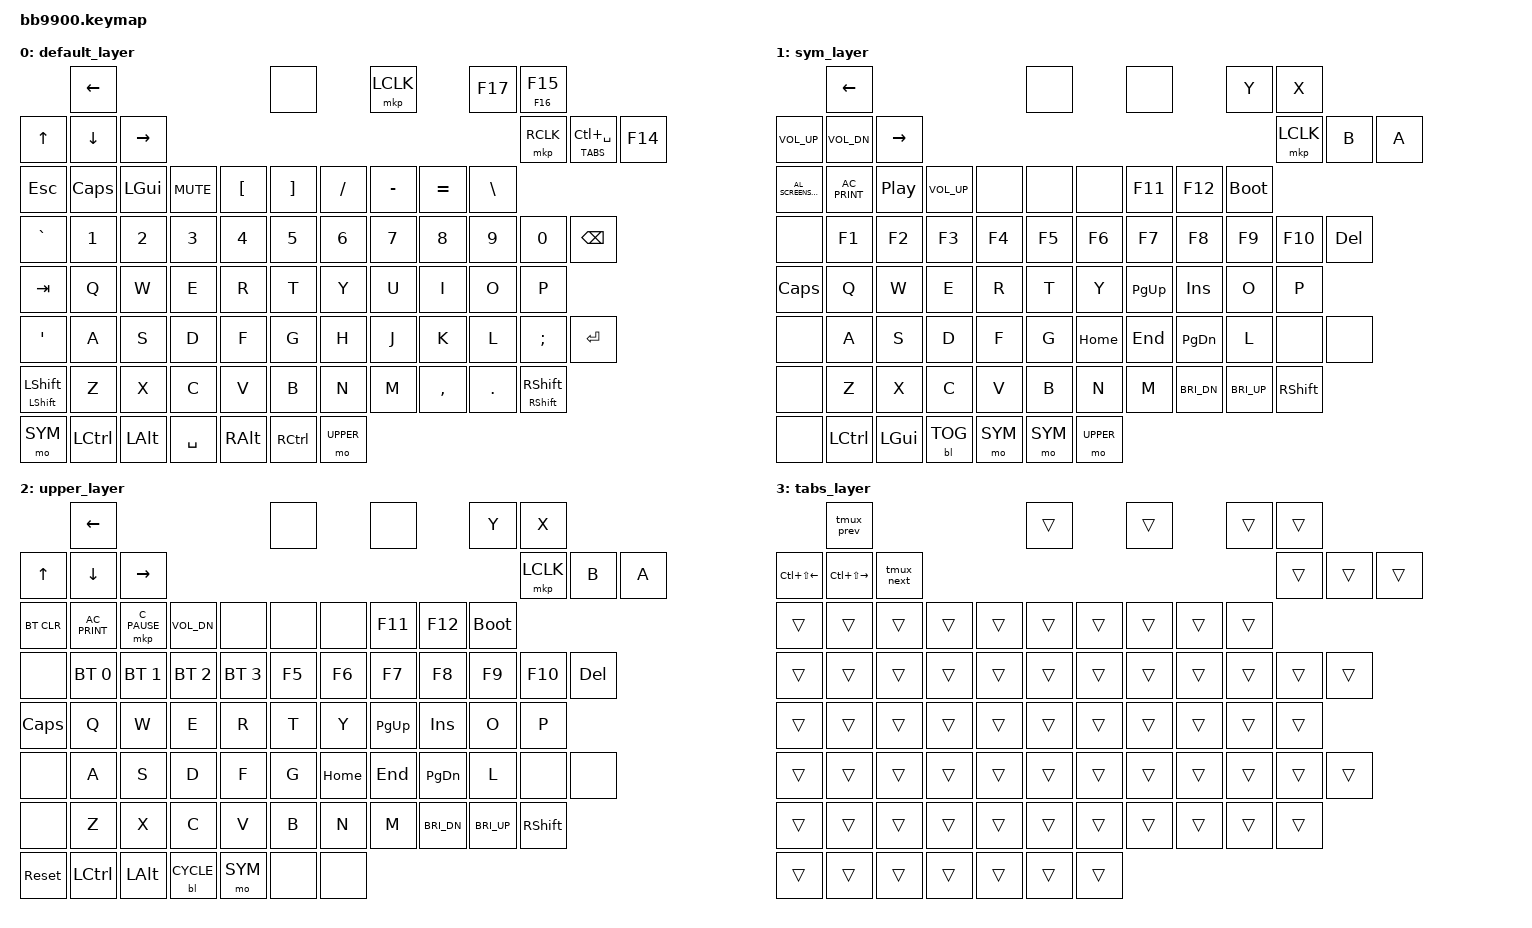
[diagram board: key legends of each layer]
/*
 * Copyright (c) 2023 ZitaoTech
 *
 * SPDX-License-Identifier: MIT
 */
   
#include <behaviors.dtsi>
#include <dt-bindings/zmk/keys.h>
#include <dt-bindings/zmk/bt.h>
#include <dt-bindings/zmk/outputs.h>
#include <dt-bindings/zmk/mouse.h>
#include <dt-bindings/zmk/backlight.h>
#include <dt-bindings/zmk/ext_power.h>

#define SYM 1
#define UPPER 2
#define TABS 3

 


/ {
    behaviors {
        td0: tap_dance_0 {
            compatible = "zmk,behavior-tap-dance";
            #binding-cells = <0>;
            tapping-term-ms = <400>;
            bindings = <&mkp LCLK>, <&bt BT_CLR>;
        };
    };
    behaviors {
        hm: homerow_mods {
            compatible = "zmk,behavior-hold-tap";
            #binding-cells = <2>;
            tapping-term-ms = <500>;
            bindings = <&out &kp>;
        };
    };

    behaviors {
        // hold-preferred: B rolled straight into a D-pad key is the tab layer, never Ctrl+Space.
        lt_hp: layer_tap_hold_preferred {
            compatible = "zmk,behavior-hold-tap";
            #binding-cells = <2>;
            flavor = "hold-preferred";
            // Only a D-pad key (positions 0 5 6 7) makes B the layer; any other key, or B
            // released alone, is the prefix. The long term stops a timeout from deciding
            // "layer" while B is held, which would let "hold B, then c" type a bare c.
            tapping-term-ms = <30000>;
            bindings = <&mo>, <&kp>;
            hold-trigger-key-positions = <0 5 6 7>;
        };
        shot: screenshot_hold_tap {
            compatible = "zmk,behavior-hold-tap";
            #binding-cells = <2>;
            flavor = "hold-preferred";
            tapping-term-ms = <300>;
            bindings = <&kp>, <&kp>;
        };
        // A tap is a one-shot Shift; a hold is a plain Shift. A bare &sk stays down for
        // release-after-ms after a Shift+click, since mouse buttons don't release it.
        sks: sticky_shift {
            compatible = "zmk,behavior-hold-tap";
            #binding-cells = <2>;
            flavor = "hold-preferred";
            tapping-term-ms = <200>;
            retro-tap;
            bindings = <&kp>, <&sk>;
        };
        ZMK_MACRO(tmux_prev, wait-ms = <0>; tap-ms = <10>; bindings = <&macro_tap &kp LC(SPACE) &kp P>;)
        ZMK_MACRO(tmux_next, wait-ms = <0>; tap-ms = <10>; bindings = <&macro_tap &kp LC(SPACE) &kp N>;)
    };

    keymap {
        compatible = "zmk,keymap";

        default_layer {

            bindings = <
//---------------------------------------------------------------------------------------------------------
// |  ←  | ↑   | ↓   | →   |  Mleft  |  Mright |  Trackpad    |  Y  |  B  |  X  |  A  |                                       
// |  ESC   |  SELECT  | Start |                 voive  |   [  |  ]  |   /  |  -  |  =  |  \  |
// |   ~   |  1  |  2  |  3  |  4  |  5  |  6  |  7  |  8  |  9  |  0  |  Backspace  |
// |   TAB   |  Q  |  W  |  E  |  R  |  T  |  Y  |  U  |  I  |  O  |  P  | 
// |    '      |  A  |  S  |  D  |  F  |  G  |  H  |  J  |  K  |  L  |  ;  |     ENTER   |  
// |  LShift  |  Z  |  X  |  C  |  V  |  B  |  N  |  M  |  <  |  >  |  ;  |  RShift  |  
//        |  Fn  |  LCtrl  |  Alt   |      SPACE      |   Alt   |  RCtrl   |  Fn   |  
//        -----------------------------------------------------------------------------------------------------------------
// The front plate holds this unit's left mouse button (Mleft) closed, so it sends nothing;
// the trackpad press clicks left (it seated after first use, 22-11-2026) and R clicks right;
// Fn+R clicks left as a backup, should the pad stop clicking.
// A, X and Y send F14-F17: xkb turns those into XF86Launch5-8, which nothing binds
// (F21-F23 become touchpad toggles). Y (F17) is reserved for hold-to-talk.
            &kp LEFT                      &none             &mkp LCLK      &kp F17   &shot F16 F15
&kp UP   &kp DOWN &kp RIGHT               &mkp RCLK                       &lt_hp TABS LC(SPACE)      &kp F14
&kp ESC    &kp CAPS  &kp LGUI &kp K_MUTE    &kp LBKT   &kp RBKT   &kp FSLH   &kp MINUS  &kp  EQUAL &kp BACKSLASH                                                                                  
&kp GRAVE  &kp N1        &kp N2     &kp N3   &kp N4     &kp N5     &kp N6     &kp N7     &kp N8    &kp N9  &kp N0 &kp BSPC
&kp TAB     &kp Q         &kp W      &kp E    &kp R      &kp T      &kp Y      &kp U      &kp I     &kp O   &kp P
&kp SQT     &kp A         &kp S      &kp D    &kp F      &kp G      &kp H      &kp J      &kp K     &kp L   &kp SEMICOLON &kp ENTER        
&sks LSHFT LSHFT   &kp Z         &kp X      &kp C    &kp V      &kp B      &kp N      &kp M      &kp COMMA &kp DOT &sks RSHFT RSHFT
  &mo SYM   &kp LCTRL               &kp LALT              &kp SPACE           &kp RALT         &kp RCTRL     &mo UPPER        
            >;
        };


        sym_layer {

            bindings = <
        &kp LEFT                      &none             &none          &kp Y   &kp X
&kp K_VOL_UP   &kp K_VOL_DN &kp RIGHT               &mkp LCLK                       &kp  B      &kp A
&kp C_AL_SCREENSAVER  &kp C_AC_PRINT &kp C_PLAY_PAUSE  &kp K_VOL_UP &none   &none   &none   &kp F11    &kp F12   &bootloader                                                                                   
&none    &kp F1         &kp F2        &kp F3     &kp F4     &kp F5     &kp F6     &kp F7     &kp F8    &kp F9  &kp F10 &kp DEL
&kp CAPSLOCK    &kp Q          &kp W         &kp E      &kp R      &kp T      &kp Y      &kp PAGE_UP      &kp INSERT     &kp O   &kp P
&none    &kp A          &kp S         &kp D      &kp F      &kp G      &kp HOME      &kp END      &kp PAGE_DOWN     &kp L   &none &none         
&none    &kp Z          &kp X         &kp C      &kp V      &kp B      &kp N      &kp M      &kp C_BRI_DN &kp C_BRI_UP &kp RSHFT
  &none  &kp LCTRL               &kp LGUI             &bl BL_TOG           &mo SYM         &mo SYM     &mo UPPER           

            >;
        };


        upper_layer {

            bindings = <
        &kp LEFT                      &none             &none          &kp Y   &kp X
&kp UP   &kp DOWN &kp RIGHT               &mkp LCLK                       &kp  B      &kp A
&bt BT_CLR  &kp C_AC_PRINT &mkp C_PAUSE  &kp K_VOL_DN &none   &none   &none   &kp F11    &kp F12   &bootloader                                                                                   
&none     &bt BT_SEL 0          &bt BT_SEL 1         &bt BT_SEL 2      &bt BT_SEL 3     &kp F5     &kp F6     &kp F7     &kp F8    &kp F9  &kp F10 &kp DEL
&kp CAPSLOCK    &kp Q          &kp W         &kp E      &kp R      &kp T      &kp Y      &kp PAGE_UP      &kp INSERT     &kp O   &kp P
&none    &kp A          &kp S         &kp D      &kp F      &kp G      &kp HOME      &kp END      &kp PAGE_DOWN     &kp L   &none &none         
&none    &kp Z          &kp X         &kp C      &kp V      &kp B      &kp N      &kp M      &kp C_BRI_DN &kp C_BRI_UP &kp RSHFT
  &sys_reset  &kp LCTRL               &kp LALT             &bl BL_CYCLE           &mo SYM         &none     &none           

            >;
        };


        tabs_layer {

            bindings = <
        &tmux_prev                    &trans            &trans         &trans  &trans
&kp LC(LS(LEFT))   &kp LC(LS(RIGHT)) &tmux_next       &trans                       &trans      &trans
&trans  &trans  &trans  &trans  &trans  &trans  &trans  &trans  &trans  &trans
&trans  &trans  &trans  &trans  &trans  &trans  &trans  &trans  &trans  &trans  &trans  &trans
&trans  &trans  &trans  &trans  &trans  &trans  &trans  &trans  &trans  &trans  &trans
&trans  &trans  &trans  &trans  &trans  &trans  &trans  &trans  &trans  &trans  &trans  &trans
&trans  &trans  &trans  &trans  &trans  &trans  &trans  &trans  &trans  &trans  &trans
  &trans  &trans  &trans  &trans  &trans  &trans  &trans

            >;
        };

    };
};
&sk { release-after-ms = <3000>; };
